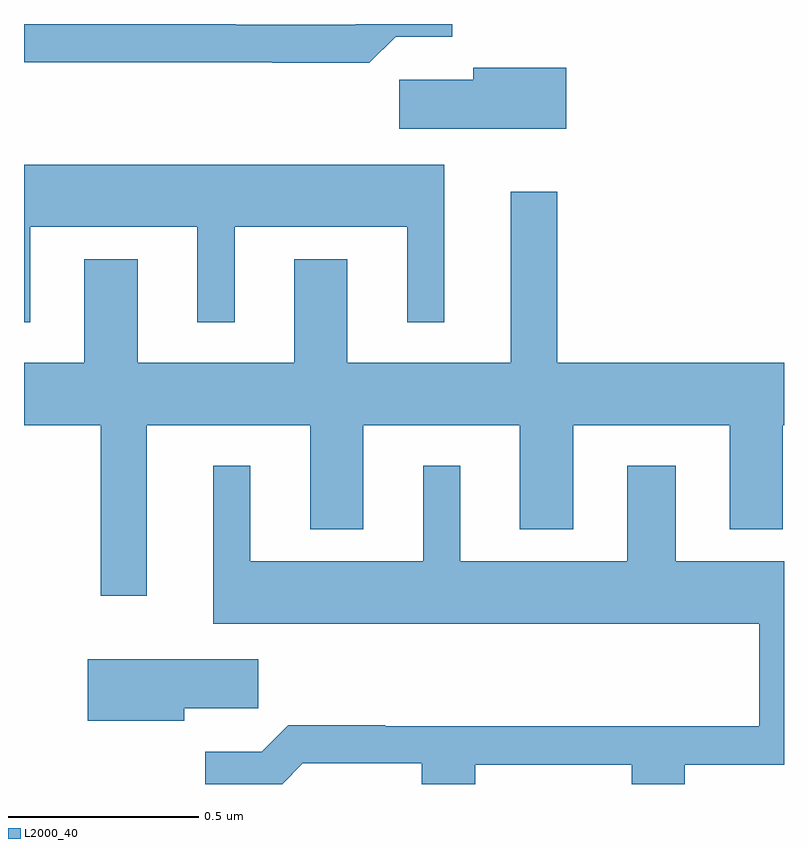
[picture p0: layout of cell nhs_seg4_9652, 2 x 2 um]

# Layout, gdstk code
import gdstk
lib = gdstk.Library(unit=1e-6, precision=1e-09)
def P(c, l, *ps):  # polygons
    for p in ps: c.add(gdstk.Polygon(p, *l))
L2000_40 = (2000, 40)

nhs_seg4_9652 = lib.new_cell('nhs_seg4_9652')
P(nhs_seg4_9652, L2000_40, [(230.978,773.867),(231.127,773.867),(231.127,773.9),(230.873,773.9),(230.871,773.898),(230.557,773.898),(230.557,773.9),(230,773.9),(230,773.8),(230.653,773.8),(230.653,773.798),(230.909,773.798)],
  [(231.427,773.785),(231.182,773.785),(231.182,773.753),(230.988,773.753),(230.988,773.624),(231.427,773.624)],
  [(230.017,773.366),(230.456,773.366),(230.456,773.115),(230.554,773.115),(230.554,773.366),(231.008,773.366),(231.008,773.115),(231.106,773.115),(231.106,773.53),(230,773.53),(230,773.115),(230.017,773.115)],
  [(230.299,773.281),(230.159,773.281),(230.159,773.008),(230,773.008),(230,772.844),(230.202,772.844),(230.202,772.395),(230.323,772.395),(230.323,772.844),(230.753,772.844),(230.753,772.571),(230.893,772.571),(230.893,772.844),(231.305,772.844),(231.305,772.571),(231.445,772.571),(231.445,772.844),(231.857,772.844),(231.857,772.571),(231.997,772.571),(231.997,772.844),(232,772.844),(232,773.008),(231.403,773.008),(231.403,773.458),(231.281,773.458),(231.281,773.008),(230.851,773.008),(230.851,773.281),(230.711,773.281),(230.711,773.008),(230.299,773.008)],
  [(230.733,771.954),(231.047,771.954),(231.047,771.9),(231.187,771.9),(231.187,771.951),(231.599,771.951),(231.599,771.9),(231.739,771.9),(231.739,771.951),(232,771.951),(232,772.486),(231.715,772.486),(231.715,772.738),(231.587,772.738),(231.587,772.486),(231.148,772.486),(231.148,772.738),(231.05,772.738),(231.05,772.486),(230.596,772.486),(230.596,772.738),(230.498,772.738),(230.498,772.322),(231.935,772.322),(231.935,772.052),(230.951,772.052),(230.951,772.055),(230.696,772.055),(230.626,771.985),(230.477,771.985),(230.477,771.9),(230.679,771.9)],
  [(230.422,772.099),(230.617,772.099),(230.617,772.228),(230.168,772.228),(230.168,772.067),(230.422,772.067)])

lib.write_gds('nhs_seg4_9652.gds')
